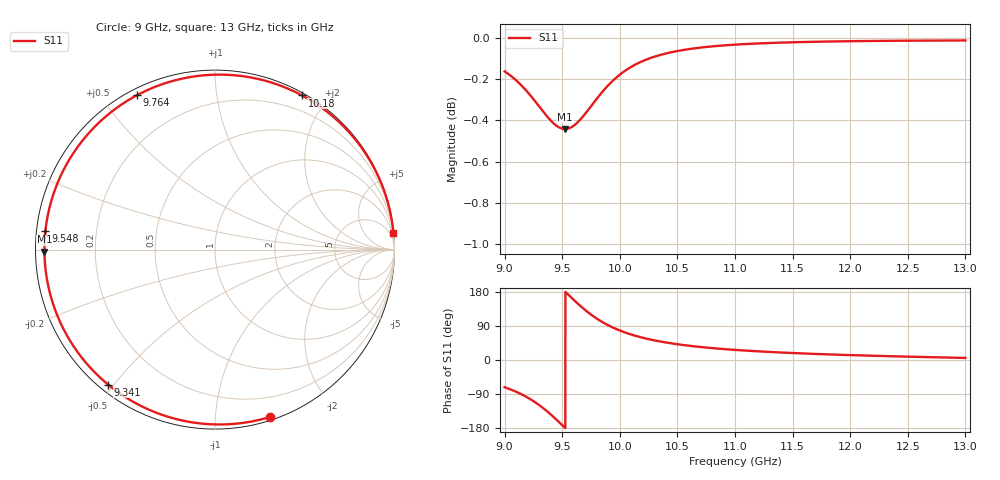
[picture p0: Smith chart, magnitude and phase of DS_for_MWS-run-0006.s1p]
! TOUCHSTONE file generated by CST DESIGN STUDIO
! Date and time: Tue Feb  4 17:55:21 2025
! Project name: C:\Work\MatlabApps\UnitCellOptimizationMatlab\CST\unitcell.cst
! Tree item: Tasks\Sweep1\SPara1\S-Parameters
! Header version: 2024
! Port assignment regex: !\s*Touchstone port\s*([0-9]+)\s*=\s*(CST MWS port|CST DES external port|CST DES block port)\s*(.+)\s* \(\"(.*)\"\)(\s*mode\s*([0-9]+))?.*
! Touchstone port assignment:
! Touchstone port 1 = CST DES external port 1 ("")
# GHz S MA R 50
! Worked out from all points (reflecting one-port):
!   4001 points, 9 GHz to 13 GHz, reference 50 ohm
!   lowest |S11| = -0.4 dB at 9.525 GHz (marker M1), VSWR 39.37, Z = 1.27 - j0.292 ohm
!   phase of S11 starts at -72 deg and turns -283 deg over the sweep
!   S11 on the Smith chart (normalised r, x): 9 GHz: 0.03, -1.38; 9.341 GHz: 0.03, -0.48; 9.548 GHz: 0.03, +0.05; 9.764 GHz: 0.03, +0.62; 10.18 GHz: 0.03, +1.71; 13 GHz: 0, +21
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9  0.9816 -71.9
9.094  0.977 -83.0
9.2  0.9702 -99.2
9.274  0.9646 -113.3
9.341  0.9592 -128.4
9.384  0.956 -139.2
9.429  0.9532 -151.4
9.5  0.9507 -171.9
9.525  0.9505 -179.3
9.548  0.9506 173.8
9.602  0.9523 158.0
9.662  0.9558 141.4
9.713  0.9596 128.5
9.764  0.9638 116.7
9.814  0.9678 106.5
9.868  0.9718 96.7
9.934  0.9761 86.5
10  0.9798 77.8
10.084  0.9835 68.6
10.175  0.9866 60.6
10.323  0.9901 50.4
10.5  0.9928 41.6
10.721  0.9949 33.7
11  0.9964 26.7
11.5  0.9977 18.4
12  0.9983 12.9
12.5  0.9986 8.8
13  0.9987 5.4
